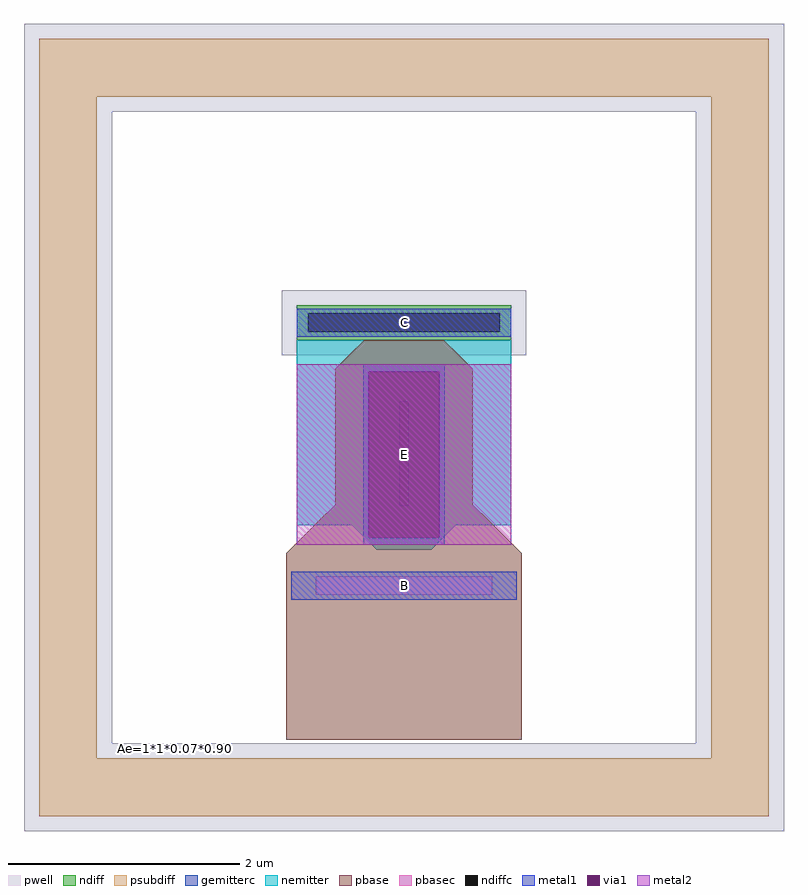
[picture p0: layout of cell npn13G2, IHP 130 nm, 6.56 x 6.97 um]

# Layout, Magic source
magic
tech ihp-sg13g2
magscale 1 2
<< pwell >>
rect -656 590 656 742
rect -656 -500 -504 590
rect 504 -500 656 590
rect -656 -652 656 -500
<< psubdiff >>
rect -630 616 630 716
rect -630 -526 -530 616
rect 530 -526 630 616
rect -630 -626 630 -526
<< metal1 >>
rect -183 202 185 250
rect -193 -252 195 -204
<< metal2 >>
rect -149 -156 149 154
use npn13G2_base_CDNS_675179387640  npn13G2_base_CDNS_675179387640_0
transform 1 0 0 0 -1 0
box -211 -462 211 494
<< labels >>
flabel comment s -395 -509 -395 -509 2 FreeSans 700 90 0 0 Ae=1*1*0.07*0.90
flabel comment s 0 -1 0 -1 0 FreeSans 1490 0 0 0 E
flabel comment s 1 -228 1 -228 0 FreeSans 240 0 0 0 B
flabel comment s 1 226 1 226 0 FreeSans 240 0 0 0 C
<< end >>

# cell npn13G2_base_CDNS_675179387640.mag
magic
tech ihp-sg13g2
magscale 1 2
<< pwell >>
rect -211 -196 -95 -170
tri -95 -196 -69 -170 sw
tri 69 -196 95 -170 se
rect 95 -196 211 -170
rect -211 -282 211 -196
<< pbase >>
rect -203 172 203 494
tri -203 116 -147 172 ne
rect -147 116 147 172
tri 147 116 203 172 nw
tri -147 88 -119 116 ne
rect -119 -146 119 116
tri 119 88 147 116 nw
tri -119 -170 -95 -146 ne
rect -95 -170 95 -146
tri 95 -170 119 -146 nw
tri -95 -196 -69 -170 ne
rect -69 -196 69 -170
tri 69 -196 95 -170 nw
<< ndiff >>
rect -185 -210 185 -196
rect -185 -242 -165 -210
rect 165 -242 185 -210
rect -185 -256 185 -242
<< pbasec >>
rect -152 212 152 244
<< nemitter >>
tri -89 124 -47 166 se
rect -47 124 47 166
tri 47 124 89 166 sw
rect -185 90 185 124
rect -185 -90 -7 90
rect 7 -90 185 90
rect -185 -196 185 -90
<< gemitterc >>
rect -7 -90 7 90
<< ndiffc >>
rect -165 -242 165 -210
<< metal1 >>
rect -195 204 195 252
rect -70 145 70 157
rect -70 -141 -61 145
rect 61 -141 70 145
rect -70 -154 70 -141
rect -185 -210 185 -202
rect -185 -242 -165 -210
rect 165 -242 185 -210
rect -185 -250 185 -242
<< via1 >>
rect -61 -141 61 145
<< metal2 >>
rect -185 145 185 157
rect -185 -141 -61 145
rect 61 -141 185 145
rect -185 -154 185 -141
<< labels >>
flabel comment s 3 -462 3 -462 0 FreeSans 700 0 0 0 npn13G2
<< end >>
